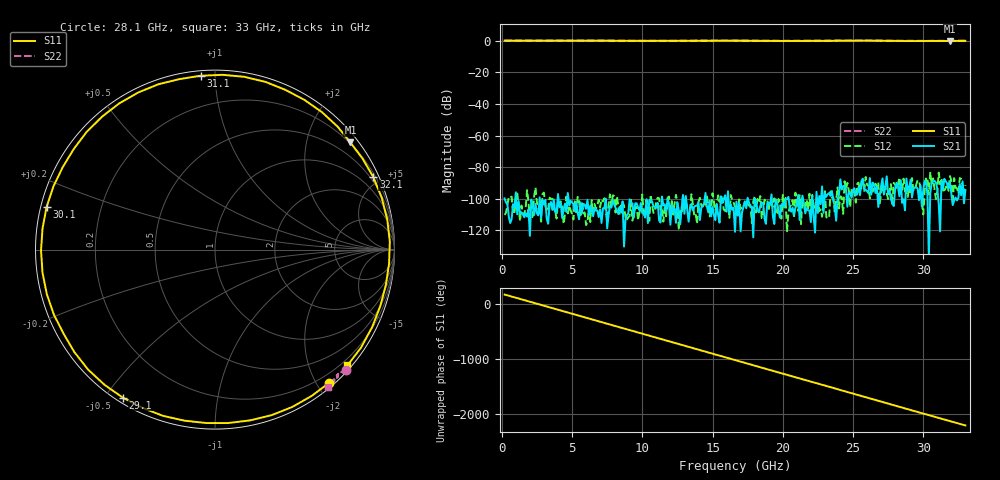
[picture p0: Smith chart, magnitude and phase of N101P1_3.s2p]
# GHZ S RI R 50
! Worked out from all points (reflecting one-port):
!   329 points, 200 MHz to 33 GHz, reference 50 ohm
!   lowest |S11| = -0.3 dB at 31.9 GHz (marker M1), VSWR 51.53, Z = 8.97 + j143 ohm
!   phase of S11 starts at 165 deg and turns -2367 deg over the sweep
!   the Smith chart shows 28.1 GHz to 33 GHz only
!   S11 on the Smith chart (normalised r, x): 28.1 GHz: 0.07, -2.18; 29.1 GHz: 0.02, -0.56; 30.1 GHz: 0.02, +0.12; 31.1 GHz: 0.03, +0.92; 32.1 GHz: 0.33, +4.57; 33 GHz: 0.08, -2.66
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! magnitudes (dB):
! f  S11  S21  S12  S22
! 200 MHz  0.0  -99.7  -110.2  0.0
! 5.7 GHz  0.0  -109.1  -101.5  0.0
! 11.2 GHz  -0.1  -113.7  -99.8  -0.1
! 16.6 GHz  0.0  -120.8  -104.9  0.0
! 19.5 GHz  -0.3  -100.3  -109.3  -0.1
! 22.1 GHz  -0.2  -98.2  -97.5  0.0
! 22.7 GHz  -0.3  -103.3  -106.7  0.0
! 23.3 GHz  -0.2  -96.4  -111.9  0.0
! 23.5 GHz  -0.2  -95.0  -99.4  -0.1
! 24 GHz  0.0  -97.4  -106.1  0.0
! 24.3 GHz  -0.1  -91.9  -109.5  0.1
! 25.1 GHz  -0.1  -93.3  -96.1  0.1
! 25.6 GHz  0.0  -88.8  -89.6  0.0
! 27.6 GHz  -0.1  -95.1  -94.9  0.0
! 28.1 GHz  -0.2  -89.8  -93.6  -0.1
! 29.1 GHz  -0.3  -87.9  -97.1  -0.1
! 30.1 GHz  -0.3  -88.8  -95.3  -0.2
! 31.1 GHz  -0.2  -103.1  -83.4  -0.1
! 31.4 GHz  -0.2  -94.3  -94.7  -0.1
! 31.9 GHz  -0.3  -89.3  -85.6  -0.2
! 32.1 GHz  -0.3  -103.9  -103.3  0.0
! 33 GHz  -0.2  -94.5  -91.3  -0.1
